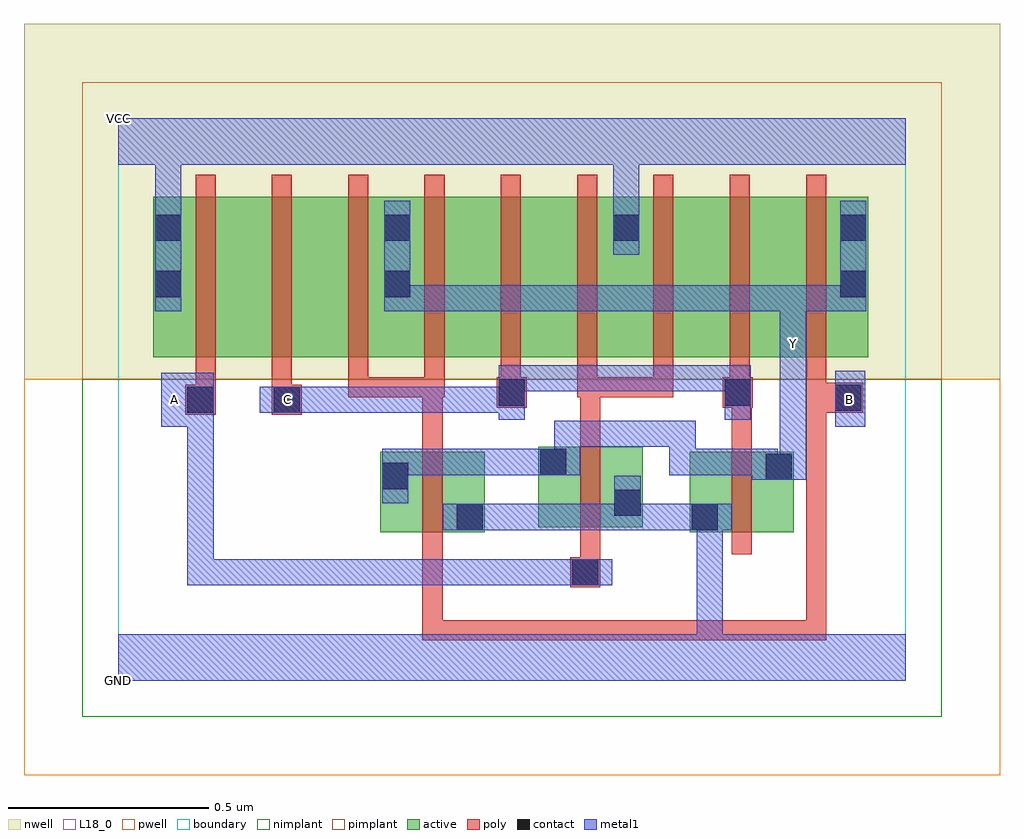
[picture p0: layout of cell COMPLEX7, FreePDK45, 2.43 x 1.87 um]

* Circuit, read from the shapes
.subckt COMPLEX7 A B C GND VCC Y
M1 GND B Y VSUBS nfet w=0.2u l=0.05u
M2 GND A Y VSUBS nfet w=0.2u l=0.05u
M3 Y C GND VSUBS nfet w=0.2u l=0.05u
M4 n1 A VCC n2 pfet w=0.4u l=0.05u
M5 n3 C n1 n2 pfet w=0.4u l=0.05u
M6 Y B n3 n2 pfet w=0.4u l=0.05u
M7 n4 B Y n2 pfet w=0.4u l=0.05u
M8 n5 C n4 n2 pfet w=0.4u l=0.05u
M9 VCC A n5 n2 pfet w=0.4u l=0.05u
M10 n6 A VCC n2 pfet w=0.4u l=0.05u
M11 n7 C n6 n2 pfet w=0.4u l=0.05u
M12 Y B n7 n2 pfet w=0.4u l=0.05u
.ends

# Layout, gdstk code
import gdstk
lib = gdstk.Library(unit=1e-6, precision=1e-09)
def R(c, l, rs):  # rectangles x0, y0, x1, y1
    for r in rs: c.add(gdstk.rectangle(r[:2], r[2:], *l))
def A(c, l, x, y, w, h, nx, ny, dx, dy):  # array of equal rectangles
    R(c, l, [(x+i*dx, y+j*dy, x+i*dx+w, y+j*dy+h) for i in range(nx) for j in range(ny)])
active = (1, 0)
pwell = (2, 0)
nwell = (3, 0)
nimplant = (4, 0)
pimplant = (5, 0)
poly = (9, 0)
contact = (10, 0)
metal1 = (11, 0)
L18_0 = (18, 0)
boundary = (235, 0)

complex7 = lib.new_cell('COMPLEX7')
A(complex7, active, 0.087, 0.805, 0.225, 0.4, 3, 1, 0.57, 0)
A(complex7, active, 0.312, 0.805, 0.19, 0.4, 3, 1, 0.57, 0)
R(complex7, active, [(0.652,0.37,0.912,0.57), (0.837,0.37,0.912,0.57), (1.422,0.37,1.682,0.57), (1.422,0.37,1.497,0.57), (1.045,0.382,1.305,0.582), (1.23,0.405,1.305,0.582), (0.652,0.472,0.727,0.57), (1.045,0.495,1.12,0.582), (1.607,0.495,1.682,0.57), (0.087,0.805,0.162,1.205), (0.502,0.805,0.732,1.205), (1.072,0.805,1.302,1.205), (1.642,0.805,1.867,1.205), (1.792,0.805,1.867,1.2), (0.657,0.907,0.732,1.2), (1.227,0.907,1.302,1.205)])
R(complex7, pwell, [(-0.235,-0.235,2.195,0.75)])
R(complex7, nwell, [(-0.235,0.75,2.195,1.635)])
R(complex7, nimplant, [(-0.09,-0.09,2.05,0.75)])
R(complex7, pimplant, [(-0.09,0.75,2.05,1.49)])
A(complex7, poly, 0.572, 0.705, 0.05, 0.095, 6, 1, 0.19, 0)
A(complex7, poly, 0.192, 0.75, 0.05, 0.51, 9, 1, 0.19, 0)
R(complex7, poly, [(0.757,0.1,0.807,0.15), (0.757,0.1,0.807,0.15), (0.757,0.1,0.807,0.15), (0.757,0.1,0.807,0.15), (0.757,0.1,0.807,0.15), (0.757,0.1,0.995,0.15), (0.757,0.1,0.807,0.365), (0.945,0.1,0.995,0.15), (0.945,0.1,0.995,0.15), (0.945,0.1,0.995,0.15), (0.945,0.1,1.127,0.15), (1.077,0.1,1.127,0.15), (1.077,0.1,1.332,0.15), (1.282,0.1,1.332,0.15), (1.282,0.1,1.332,0.15), (1.282,0.1,1.332,0.15), (1.282,0.1,1.332,0.15), (1.282,0.1,1.332,0.15), (1.282,0.1,1.63,0.15), (1.58,0.1,1.63,0.15), (1.58,0.1,1.63,0.15), (1.58,0.1,1.63,0.15), (1.58,0.1,1.762,0.15), (1.712,0.1,1.762,0.15), (1.712,0.1,1.762,0.15), (1.712,0.1,1.762,0.15), (1.712,0.1,1.762,0.717), (1.125,0.232,1.2,0.307), (1.15,0.257,1.2,0.377), (0.757,0.315,0.807,0.625), (1.527,0.315,1.577,0.625), (1.15,0.327,1.2,0.637), (0.757,0.575,0.807,0.755), (1.527,0.575,1.577,0.73), (1.15,0.587,1.2,0.755), (0.167,0.662,0.242,0.737), (0.382,0.662,0.457,0.737), (1.712,0.667,1.762,0.717), (1.712,0.667,1.762,0.717), (1.712,0.667,1.762,0.717), (1.712,0.667,1.762,0.717), (1.712,0.667,1.855,0.742), (0.942,0.68,1.017,0.755), (1.505,0.68,1.58,0.755), (0.192,0.687,0.242,0.8), (0.382,0.687,0.432,0.8), (1.712,0.692,1.762,0.8), (0.572,0.705,0.622,0.755), (0.572,0.705,0.622,0.755), (0.572,0.705,0.622,0.755), (0.572,0.705,0.807,0.755), (0.757,0.705,0.812,0.755), (1.142,0.705,1.2,0.755), (1.15,0.705,1.2,0.755), (1.15,0.705,1.2,0.755), (1.15,0.705,1.382,0.755), (1.332,0.705,1.382,0.755)])
A(complex7, contact, 0.092, 1.095, 0.065, 0.065, 3, 1, 0.57, 0)
R(complex7, contact, [(1.13,0.237,1.195,0.302), (0.842,0.375,0.907,0.44), (1.427,0.375,1.492,0.44), (1.235,0.41,1.3,0.475), (0.657,0.477,0.722,0.542), (1.612,0.5,1.677,0.565), (1.05,0.512,1.115,0.577), (0.172,0.667,0.237,0.732), (0.387,0.667,0.452,0.732), (1.785,0.672,1.85,0.737), (0.947,0.685,1.012,0.75), (1.51,0.685,1.575,0.75), (0.092,0.955,0.157,1.02), (0.662,0.955,0.727,1.02), (1.797,0.955,1.862,1.02), (1.797,1.095,1.862,1.16)])
R(complex7, metal1, [(0,0,1.96,0.115), (1.44,0.05,1.505,0.115), (1.44,0.05,1.505,0.115), (1.44,0.05,1.505,0.44), (0.172,0.237,0.237,0.302), (0.172,0.237,0.375,0.302), (0.172,0.237,0.237,0.697), (0.31,0.237,0.375,0.302), (0.31,0.237,0.375,0.302), (0.31,0.237,0.375,0.302), (0.31,0.237,0.375,0.302), (0.31,0.237,0.375,0.302), (0.31,0.237,0.375,0.302), (0.31,0.237,0.375,0.302), (0.31,0.237,0.625,0.302), (0.56,0.237,0.625,0.302), (0.56,0.237,0.625,0.302), (0.56,0.237,0.625,0.302), (0.56,0.237,0.875,0.302), (0.81,0.237,0.875,0.302), (0.81,0.237,0.875,0.302), (0.81,0.237,0.875,0.302), (0.81,0.237,1.012,0.302), (0.947,0.237,1.012,0.302), (0.947,0.237,1.08,0.302), (1.015,0.237,1.08,0.302), (1.015,0.237,1.16,0.302), (1.095,0.237,1.23,0.302), (0.807,0.375,0.942,0.44), (0.877,0.375,1.012,0.44), (0.947,0.375,1.012,0.44), (0.947,0.375,1.15,0.44), (1.085,0.375,1.15,0.44), (1.085,0.375,1.15,0.44), (1.085,0.375,1.15,0.44), (1.085,0.375,1.3,0.44), (1.235,0.375,1.3,0.44), (1.235,0.375,1.3,0.44), (1.235,0.375,1.3,0.51), (1.235,0.375,1.457,0.44), (1.392,0.375,1.527,0.44), (1.44,0.375,1.505,0.44), (1.44,0.375,1.505,0.44), (1.44,0.375,1.505,0.44), (1.44,0.375,1.505,0.44), (0.657,0.442,0.722,0.577), (1.577,0.5,1.642,0.565), (1.577,0.5,1.712,0.565), (1.577,0.5,1.642,0.577), (1.647,0.5,1.712,0.837), (0.657,0.512,0.875,0.577), (0.81,0.512,0.875,0.577), (0.81,0.512,0.875,0.577), (0.81,0.512,0.875,0.577), (0.81,0.512,1.012,0.577), (0.947,0.512,1.012,0.577), (0.947,0.512,1.08,0.577), (1.015,0.512,1.15,0.577), (1.085,0.512,1.15,0.577), (1.085,0.512,1.15,0.647), (1.372,0.512,1.437,0.647), (1.372,0.512,1.642,0.577), (1.085,0.582,1.287,0.647), (1.222,0.582,1.287,0.647), (1.222,0.582,1.287,0.647), (1.222,0.582,1.287,0.647), (1.222,0.582,1.437,0.647), (0.107,0.632,0.237,0.767), (0.172,0.632,0.237,0.697), (0.172,0.632,0.237,0.697), (1.785,0.632,1.86,0.772), (0.947,0.65,1.012,0.785), (1.51,0.65,1.575,0.785), (0.352,0.667,0.487,0.732), (0.422,0.667,0.487,0.732), (0.422,0.667,0.487,0.732), (0.422,0.667,0.625,0.732), (0.56,0.667,0.625,0.732), (0.56,0.667,0.625,0.732), (0.56,0.667,0.625,0.732), (0.56,0.667,0.762,0.732), (0.697,0.667,0.762,0.732), (0.697,0.667,0.942,0.732), (0.877,0.667,0.942,0.732), (0.877,0.667,1.012,0.732), (0.947,0.72,1.15,0.785), (1.085,0.72,1.15,0.785), (1.085,0.72,1.15,0.785), (1.085,0.72,1.15,0.785), (1.085,0.72,1.287,0.785), (1.222,0.72,1.287,0.785), (1.222,0.72,1.287,0.785), (1.222,0.72,1.287,0.785), (1.222,0.72,1.505,0.785), (1.44,0.72,1.505,0.785), (1.44,0.72,1.575,0.785), (1.647,0.772,1.712,0.907), (1.647,0.842,1.712,0.985), (0.092,0.92,0.157,1.195), (0.662,0.92,0.727,1.195), (0.662,0.92,0.875,0.985), (0.81,0.92,0.875,0.985), (0.81,0.92,0.875,0.985), (0.81,0.92,0.875,0.985), (0.81,0.92,1.012,0.985), (0.947,0.92,1.012,0.985), (0.947,0.92,1.15,0.985), (1.085,0.92,1.15,0.985), (1.085,0.92,1.15,0.985), (1.085,0.92,1.15,0.985), (1.085,0.92,1.3,0.985), (1.235,0.92,1.3,0.985), (1.235,0.92,1.3,0.985), (1.235,0.92,1.3,0.985), (1.235,0.92,1.437,0.985), (1.372,0.92,1.437,0.985), (1.372,0.92,1.712,0.985), (1.647,0.92,1.712,0.985), (1.647,0.92,1.712,0.985), (1.647,0.92,1.712,0.985), (1.647,0.92,1.862,0.985), (1.797,0.92,1.862,0.985), (1.797,0.92,1.862,0.985), (1.797,0.92,1.862,1.195), (1.232,1.06,1.297,1.195), (0.092,1.13,0.157,1.35), (1.232,1.13,1.297,1.35), (0,1.285,1.96,1.4)])
R(complex7, L18_0, [(0,0,1.96,0.115), (1.44,0.05,1.505,0.115), (1.44,0.05,1.505,0.115), (1.44,0.05,1.505,0.44), (0.172,0.237,0.237,0.302), (0.172,0.237,0.237,0.697), (0.172,0.237,0.375,0.302), (0.31,0.237,0.375,0.302), (0.31,0.237,0.375,0.302), (0.31,0.237,0.375,0.302), (0.31,0.237,0.375,0.302), (0.31,0.237,0.375,0.302), (0.31,0.237,0.375,0.302), (0.31,0.237,0.375,0.302), (0.31,0.237,0.625,0.302), (0.56,0.237,0.625,0.302), (0.56,0.237,0.625,0.302), (0.56,0.237,0.625,0.302), (0.56,0.237,0.875,0.302), (0.81,0.237,0.875,0.302), (0.81,0.237,0.875,0.302), (0.81,0.237,0.875,0.302), (0.81,0.237,1.012,0.302), (0.947,0.237,1.012,0.302), (0.947,0.237,1.08,0.302), (1.015,0.237,1.08,0.302), (1.015,0.237,1.16,0.302), (1.095,0.237,1.23,0.302), (0.807,0.375,0.942,0.44), (0.877,0.375,1.012,0.44), (0.947,0.375,1.012,0.44), (0.947,0.375,1.15,0.44), (1.085,0.375,1.15,0.44), (1.085,0.375,1.15,0.44), (1.085,0.375,1.15,0.44), (1.085,0.375,1.3,0.44), (1.235,0.375,1.3,0.44), (1.235,0.375,1.3,0.44), (1.235,0.375,1.3,0.51), (1.235,0.375,1.457,0.44), (1.392,0.375,1.527,0.44), (1.44,0.375,1.505,0.44), (1.44,0.375,1.505,0.44), (1.44,0.375,1.505,0.44), (1.44,0.375,1.505,0.44), (0.657,0.442,0.722,0.577), (1.577,0.5,1.642,0.565), (1.577,0.5,1.712,0.565), (1.577,0.5,1.642,0.577), (1.647,0.5,1.712,0.837), (0.657,0.512,0.875,0.577), (0.81,0.512,0.875,0.577), (0.81,0.512,0.875,0.577), (0.81,0.512,0.875,0.577), (0.81,0.512,1.012,0.577), (0.947,0.512,1.012,0.577), (0.947,0.512,1.08,0.577), (1.015,0.512,1.15,0.577), (1.085,0.512,1.15,0.577), (1.085,0.512,1.15,0.647), (1.372,0.512,1.437,0.647), (1.372,0.512,1.642,0.577), (1.085,0.582,1.287,0.647), (1.222,0.582,1.287,0.647), (1.222,0.582,1.287,0.647), (1.222,0.582,1.287,0.647), (1.222,0.582,1.437,0.647), (0.107,0.632,0.237,0.767), (0.172,0.632,0.237,0.697), (0.172,0.632,0.237,0.697), (1.785,0.632,1.86,0.772), (0.947,0.65,1.012,0.785), (1.51,0.65,1.575,0.785), (0.107,0.667,0.172,0.732), (0.352,0.667,0.487,0.732), (0.387,0.667,0.452,0.732), (0.422,0.667,0.487,0.732), (0.422,0.667,0.487,0.732), (0.422,0.667,0.625,0.732), (0.56,0.667,0.625,0.732), (0.56,0.667,0.625,0.732), (0.56,0.667,0.625,0.732), (0.56,0.667,0.762,0.732), (0.697,0.667,0.762,0.732), (0.697,0.667,0.942,0.732), (0.877,0.667,0.942,0.732), (0.877,0.667,1.012,0.732), (1.787,0.667,1.852,0.732), (0.947,0.72,1.15,0.785), (1.085,0.72,1.15,0.785), (1.085,0.72,1.15,0.785), (1.085,0.72,1.15,0.785), (1.085,0.72,1.287,0.785), (1.222,0.72,1.287,0.785), (1.222,0.72,1.287,0.785), (1.222,0.72,1.287,0.785), (1.222,0.72,1.505,0.785), (1.44,0.72,1.505,0.785), (1.44,0.72,1.575,0.785), (1.647,0.772,1.712,0.907), (1.647,0.807,1.712,0.872), (1.647,0.842,1.712,0.985), (0.092,0.92,0.157,1.195), (0.662,0.92,0.727,1.195), (0.662,0.92,0.875,0.985), (0.81,0.92,0.875,0.985), (0.81,0.92,0.875,0.985), (0.81,0.92,0.875,0.985), (0.81,0.92,1.012,0.985), (0.947,0.92,1.012,0.985), (0.947,0.92,1.15,0.985), (1.085,0.92,1.15,0.985), (1.085,0.92,1.15,0.985), (1.085,0.92,1.15,0.985), (1.085,0.92,1.3,0.985), (1.235,0.92,1.3,0.985), (1.235,0.92,1.3,0.985), (1.235,0.92,1.3,0.985), (1.235,0.92,1.437,0.985), (1.372,0.92,1.437,0.985), (1.372,0.92,1.712,0.985), (1.647,0.92,1.712,0.985), (1.647,0.92,1.712,0.985), (1.647,0.92,1.712,0.985), (1.647,0.92,1.862,0.985), (1.797,0.92,1.862,1.195), (1.797,0.92,1.862,0.985), (1.797,0.92,1.862,0.985), (1.232,1.06,1.297,1.195), (0.092,1.13,0.157,1.35), (1.232,1.13,1.297,1.35), (0,1.285,1.96,1.4)])
R(complex7, boundary, [(0,0,1.96,1.4)])
complex7.add(gdstk.Label('A', (0.14,0.7), layer=11, texttype=0))
complex7.add(gdstk.Label('B', (1.82,0.7), layer=11, texttype=0))
complex7.add(gdstk.Label('C', (0.42,0.7), layer=11, texttype=0))
complex7.add(gdstk.Label('Y', (1.68,0.84), layer=11, texttype=0))
complex7.add(gdstk.Label('VCC', (0,1.4), layer=11, texttype=0))
complex7.add(gdstk.Label('GND', (0,0), layer=11, texttype=0))

lib.write_gds('COMPLEX7.gds')
